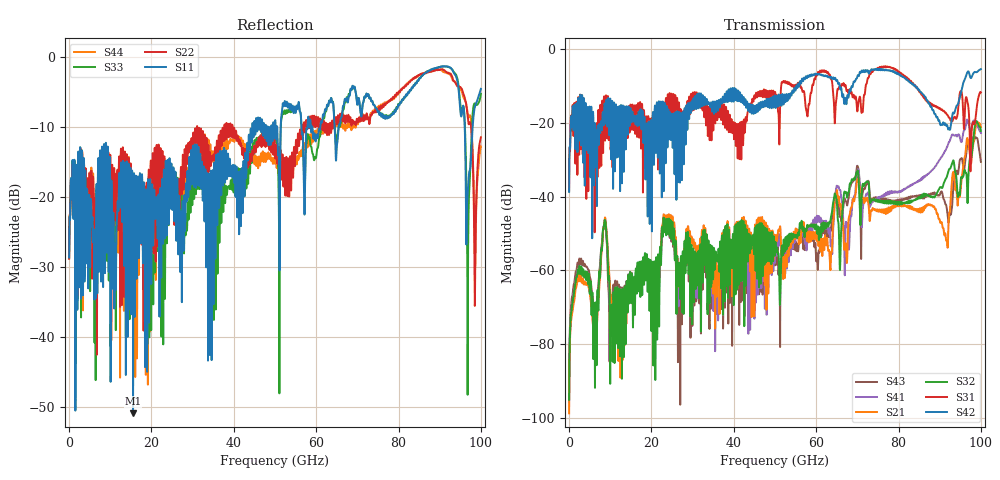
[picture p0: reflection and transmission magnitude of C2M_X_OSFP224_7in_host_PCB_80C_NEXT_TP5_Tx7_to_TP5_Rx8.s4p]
# GHz S RI R 45
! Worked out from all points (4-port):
!   4000 points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, 25 MHz to 100 GHz, reference 45 ohm
!   strongest paths, dB at 25 MHz, 25.02 GHz, 50.02 GHz, 75.03 GHz, 100 GHz:
!     S42: -38.7, -18.5, -13.4, -5.4, -5.3
!     S31: -38.4, -15.7, -11.5, -5.0, -11.6
!     S32: -95.1, -47.5, -53.7, -41.1, -22.1
!     S21: -98.8, -45.9, -54.6, -43.9, -21.1
!     S41: -95.8, -48.2, -57.3, -40.3, -22.7
!     S43: -93.5, -50.6, -57.0, -40.4, -30.5
!   lowest |S11| = -50.8 dB at 15.55 GHz (marker M1), VSWR 1.01, Z = 45.1 + j0.253 ohm
!   |S11| at or under -10 dB: start of sweep to 44.48 GHz; 59.1 GHz to 61.02 GHz (1.918 GHz wide, 3.19 % of centre); 96.08 GHz to 98 GHz (1.927 GHz wide, 1.99 % of centre) (the widest 3 of 20)
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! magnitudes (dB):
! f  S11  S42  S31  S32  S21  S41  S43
! 25 MHz  -28.6  -38.7  -38.4  -95.1  -98.8  -95.8  -93.5
! 6.375 GHz  -26.9  -28.1  -27.1  -74.8  -81.7  -76.5  -72.1
! 8.7 GHz  -24.7  -15.0  -20.7  -46.3  -45.9  -46.1  -46.4
! 10.43 GHz  -20.5  -14.4  -17.5  -70.0  -70.1  -79.6  -66.8
! 15.55 GHz  -50.8  -18.9  -20.4  -74.4  -66.8  -67.1  -66.2
! 91.55 GHz  -1.3  -20.7  -17.3  -35.0  -51.7  -27.1  -42.2
! 100 GHz  -4.6  -5.3  -11.6  -22.1  -21.1  -22.7  -30.5
